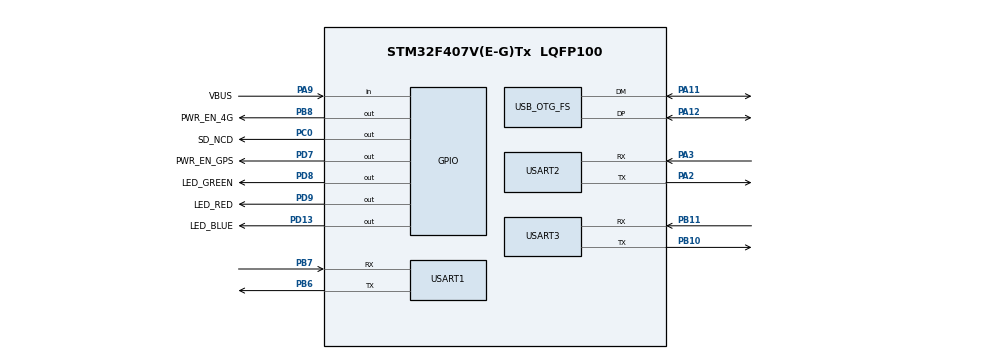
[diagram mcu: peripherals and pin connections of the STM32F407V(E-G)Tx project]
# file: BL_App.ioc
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Mcu.Family=STM32F4
Mcu.Name=STM32F407V(E-G)Tx
Mcu.Package=LQFP100
NVIC.OTG_FS_IRQn=true\:0\:0\:false\:false\:true\:false\:true
NVIC.PriorityGroup=NVIC_PRIORITYGROUP_4
NVIC.USART1_IRQn=true\:0\:0\:false\:false\:true\:true\:true
NVIC.USART2_IRQn=true\:0\:0\:false\:false\:true\:true\:true
NVIC.USART3_IRQn=true\:0\:0\:false\:false\:true\:true\:true
PA11.Mode=Device_Only
PA11.Signal=USB_OTG_FS_DM
PA12.Mode=Device_Only
PA12.Signal=USB_OTG_FS_DP
PA13.Mode=Serial_Wire
PA13.Signal=SYS_JTMS-SWDIO
PA14.Mode=Serial_Wire
PA14.Signal=SYS_JTCK-SWCLK
PA2.Mode=Asynchronous
PA2.Signal=USART2_TX
PA3.Mode=Asynchronous
PA3.Signal=USART2_RX
PA9.GPIO_Label=VBUS
PA9.GPIO_PuPd=GPIO_PULLDOWN
PA9.Signal=GPIO_Input
PB10.Mode=Asynchronous
PB10.Signal=USART3_TX
PB11.Mode=Asynchronous
PB11.Signal=USART3_RX
PB6.Mode=Asynchronous
PB6.Signal=USART1_TX
PB7.Mode=Asynchronous
PB7.Signal=USART1_RX
PB8.GPIO_Label=PWR_EN_4G
PB8.GPIO_PuPd=GPIO_PULLUP
PB8.GPIO_Speed=GPIO_SPEED_FREQ_HIGH
PB8.PinState=GPIO_PIN_SET
PB8.Signal=GPIO_Output
PC0.GPIO_Label=SD_NCD
PC0.GPIO_PuPd=GPIO_PULLUP
PC0.GPIO_Speed=GPIO_SPEED_FREQ_HIGH
PC0.PinState=GPIO_PIN_SET
PC0.Signal=GPIO_Output
PC10.Signal=SDIO_D2
PC11.Signal=SDIO_D3
PC12.Signal=SDIO_CK
PC8.Signal=SDIO_D0
PC9.Signal=SDIO_D1
PD13.GPIO_Label=LED_BLUE
PD13.GPIO_ModeDefaultOutputPP=GPIO_MODE_OUTPUT_PP
PD13.GPIO_PuPd=GPIO_PULLUP
PD13.GPIO_Speed=GPIO_SPEED_FREQ_HIGH
PD13.PinState=GPIO_PIN_SET
PD13.Signal=GPIO_Output
PD2.Signal=SDIO_CMD
PD7.GPIO_Label=PWR_EN_GPS
PD7.GPIO_PuPd=GPIO_PULLUP
PD7.GPIO_Speed=GPIO_SPEED_FREQ_HIGH
PD7.PinState=GPIO_PIN_SET
PD7.Signal=GPIO_Output
PD8.GPIO_Label=LED_GREEN
PD8.GPIO_ModeDefaultOutputPP=GPIO_MODE_OUTPUT_PP
PD8.GPIO_PuPd=GPIO_PULLUP
PD8.GPIO_Speed=GPIO_SPEED_FREQ_HIGH
PD8.PinState=GPIO_PIN_SET
PD8.Signal=GPIO_Output
PD9.GPIO_Label=LED_RED
PD9.GPIO_PuPd=GPIO_PULLUP
PD9.GPIO_Speed=GPIO_SPEED_FREQ_HIGH
PD9.PinState=GPIO_PIN_SET
PD9.Signal=GPIO_Output
PH0-OSC_IN.Mode=HSE-External-Oscillator
PH0-OSC_IN.Signal=RCC_OSC_IN
PH1-OSC_OUT.Mode=HSE-External-Oscillator
PH1-OSC_OUT.Signal=RCC_OSC_OUT
ProjectManager.HeapSize=0x2000
ProjectManager.StackSize=0x4000
ProjectManager.TargetToolchain=STM32CubeIDE
RCC.48MHZClocksFreq_Value=48000000
RCC.AHBFreq_Value=168000000
RCC.APB1CLKDivider=RCC_HCLK_DIV4
RCC.APB1Freq_Value=42000000
RCC.APB1TimFreq_Value=84000000
RCC.APB2CLKDivider=RCC_HCLK_DIV2
RCC.APB2Freq_Value=84000000
RCC.APB2TimFreq_Value=168000000
RCC.CortexFreq_Value=168000000
RCC.HCLKFreq_Value=168000000
RCC.HSE_VALUE=16000000
RCC.HSI_VALUE=16000000
RCC.LSE_VALUE=32768
RCC.PLLM=8
RCC.PLLN=168
RCC.PLLQ=7
RCC.SYSCLKFreq_VALUE=168000000
RCC.SYSCLKSource=RCC_SYSCLKSOURCE_PLLCLK
RCC.VCOOutputFreq_Value=336000000
USART1.VirtualMode=VM_ASYNC
USART2.VirtualMode=VM_ASYNC
USART3.VirtualMode=VM_ASYNC
USB_DEVICE.CLASS_NAME_FS=CDC
USB_DEVICE.VirtualMode-CDC_FS=Cdc
USB_DEVICE.VirtualModeFS=Cdc_FS
USB_OTG_FS.VirtualMode=Device_Only
VP_USB_DEVICE_VS_USB_DEVICE_CDC_FS.Mode=CDC_FS
board=custom

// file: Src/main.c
/* USER CODE BEGIN Header */
/**
  ******************************************************************************
  * @file           : main.c
  * @brief          : Main program body
  ******************************************************************************
  * @attention
  *
  * <h2><center>&copy; Copyright (c) 2020 STMicroelectronics.
  * All rights reserved.</center></h2>
  *
  * This software component is licensed by ST under Ultimate Liberty license
  * SLA0044, the "License"; You may not use this file except in compliance with
  * the License. You may obtain a copy of the License at:
  *                             www.st.com/SLA0044
  *
  ******************************************************************************
  */
/* USER CODE END Header */

#include "main.h"
#include "usart.h"
#include "usb_device.h"
#include "gpio.h"

/* USER CODE BEGIN Includes */
#include "Periphs/uart.h"
#include "version.h"
#include "driver/ec20.h"
#include "Periphs/ParamTable.h"
#include "tea/tea.h"
#include "Periphs/crc.h"
#include "Periphs/Flash.h"

/* USER CODE END Includes */

void SystemClock_Config(void);

/* USER CODE BEGIN 0 */
uint8_t vbus_high_count=0;
uint8_t vbus_low_count=0;
uint8_t vbus_connect=0;
uint32_t led_tick = 0;
//extern void bl_entry(void);
extern uint32_t g_pfnVectors;

void vbus_poll(const uint32_t _tick)
{
	uint32_t gpio = LL_GPIO_ReadInputPort(VBUS_GPIO_Port);
	if(gpio&VBUS_Pin)
	{
		vbus_high_count++;
		if(vbus_high_count>200) vbus_high_count = 200;
		vbus_low_count=0;
	}
	else
	{
		vbus_high_count=0;
		vbus_low_count++;
		if(vbus_low_count>200) vbus_low_count = 200;
	}
	if((led_tick>0) && (led_tick<=_tick))
	{
		led_tick = _tick + 100;
		LL_GPIO_TogglePin(GPIOD, LED_GREEN_Pin);
		//LL_GPIO_TogglePin(GPIOD, LED_RED_Pin);
	}
}

// 对芯片签名, 签名长度 32B
extern uint8_t read_uid(uint8_t uid[]);
//static uint8_t send_buf[256];
static const uint32_t signApp_key[4]={0x01020304, 0x05060708, 0x090A0B0C, 0x0D0E0F10};
void signApp(upload_Emb_Arg &Emb_Arg)
{
    int i;
    char _sn[64];
    uint32_t _key[4];
    const uint32_t* const _id = (const uint32_t*)mcu_id;
    QString_to_char(SN, _sn, sizeof(_sn));
    for(int i=0; i<8; i++) Emb_Arg.signApp[i] = _id[i];
    tea_encrypt(Emb_Arg.signApp, sizeof(Emb_Arg.signApp), signApp_key, 128);
    // 迭代加密,将加密加过代入新一轮加密,增加解密复杂度
    for(i=0; i<4; i++) _key[i] = Emb_Arg.signApp[i]+_id[i];
    for(i=0; i<8; i++) Emb_Arg.signApp[i] = Emb_Arg.signApp[i]^(_key[i>>1]);
    tea_encrypt(Emb_Arg.signApp, sizeof(Emb_Arg.signApp), _key, 128);

    app.debug("[%s-%d] Emb_Arg.signApp: \r\n", __func__, __LINE__);
    for(i=0; i<8; i++) app.debug("0x%08X ", Emb_Arg.signApp[i]);
    app.debug("[%s-%d] ------- End ------- \r\n", __func__, __LINE__);
}
uint32_t sign_flag = 0;
static inline uint32_t sign_chip(uint32_t sign[8])
{
	// 对齐
	uint32_t uid[8];
	uint16_t count, i;
	uint32_t crc16 = 0;
	uint32_t crc;
	//uint32_t addr = (uint32_t)&bl_entry;
	uint32_t addr = (uint32_t)0x080035a4;
	const uint32_t* flash = (const uint32_t*)0x08000400;
	const uint32_t key[4]={0x89480304, 0x60670708, 0x090A0B0C, 0x68270F10};
	const uint16_t emb_iteration = 64;

	addr = addr-(addr&0x03);  // 对齐
	flash = (const uint32_t*)(addr+((flash[0]&0x7F)<<2));
	//memset(uid, 0x5A, sizeof(uid));   // 填默认值
	memcpy(uid, flash, sizeof(uid));  // 将代码作为随机数使用
	// 读取 ID
	read_uid((uint8_t*)uid);  // 96 bit
	// 使用 TEA 加密, 迭代处理,将对称加密变成不可解密加密算法
	for(count=0; count< 16; count++)
	{
		memcpy(&sign[0], key, sizeof(key));
		memcpy(&sign[4], key, sizeof(key));
		tea_encrypt(sign, 4*8, uid, emb_iteration);
		// 叠加,将 sign 和 key 带入 uid,从而让数据不可解密
		for(i=0; i<8; i++) uid[i] = uid[i] + ((uid[i]>>i)&0xFFFF) + ((sign[i]<<i)&0xFFFF0000);
		tea_encrypt(uid, sizeof(uid), key, emb_iteration);
		sign_flag++;
	}
	// 计算 CRC
	crc16 = 0;
#ifdef FAST_CRC16
	crc16 = fast_crc16(crc16, (const unsigned char*)(0x08000000+0x0400), 1024*32); // 32K 代码校验
#else
	crc16 = fw_crc(crc16, (const unsigned char*)(0x08000000+0x0400), 1024*32); // 32K 代码校验
#endif
	crc = crc16;
	memcpy(&sign[0], uid, sizeof(uid));
	MX_USART3_UART_Init();
	/*app_debug("[%s--%d] crc:0x%08X sign_flag:%d \r\n", __func__, __LINE__, crc, sign_flag);
	app_debug("[%s--%d] sign: \r\n", __func__, __LINE__);
	for(i=0; i<8; i++) app_debug("0x%08X \r\n", sign[i]);
	app_debug("\r\n");*/
	return crc;
}
// 验签代码
void verify_chip(void)
{
	uint32_t sign[8];
	uint32_t crc;
	int led;
	const struct Emb_Device_Version*const _Emb_version = (const struct Emb_Device_Version*)0x08000200;
	// 签名
	crc = sign_chip(sign);
	//app_debug("[%s--%d] uid: \r\n", __func__, __LINE__);
	app_debug("[%s--%d] sign_flag:%d \r\n", __func__, __LINE__, sign_flag);
	app_debug("[%s--%d] crc:0x%08X 0x%08X \r\n", __func__, __LINE__, _Emb_version->crc, crc);
	for(int i=0; i<8; i++) app_debug("[%s--%d] signData[%d]:0x%08X 0x%08X \r\n", __func__, __LINE__, i, _Emb_version->signData[i], sign[i]);
	if((16==sign_flag) && (_Emb_version->crc==crc) && (0==memcmp(sign, _Emb_version->signData, sizeof(_Emb_version->signData))))
	{
		app_debug("[%s--%d] verify_chip pass! \r\n", __func__, __LINE__);
		//bl_entry();
		return ;
	}
	//app_debug("[%s--%d] uid: \r\n", __func__, __LINE__);
	// 加密验证错误, 错误提示:3s快闪,3s慢闪
	led_tick = 0;
	MX_GPIO_Init();
	while(1)  // nop
	{
		// 使用";"会出现 warning: this 'for' clause does not guard... [-Wmisleading-indentation]
		//asm("mov r0,r0");
		// 刷入固件前有 3s 快闪提示
		for(led=0; led<60; led++) // 3s
		{
			HAL_Delay(50);
			LL_GPIO_TogglePin(GPIOD, LED_GREEN_Pin);
		}
		for(led=0; led<6; led++)  // 3s
		{
			HAL_Delay(500);
			LL_GPIO_TogglePin(GPIOD, LED_GREEN_Pin);
		}
	}
}

/* USER CODE END 0 */

int main(void)
{
  /* USER CODE BEGIN 1 */

	//int conut=0;
	//SCB->VTOR = g_pfnVectors;//FLASH_BASE | VECT_TAB_OFFSET; /* Vector Table Relocation in Internal FLASH */
	SCB->VTOR = 0x08010000UL ;
	//SCB->VTOR = 0x20000000UL; /* Vector Table Relocation in Internal FLASH */
	led_tick = 0;
  /* USER CODE END 1 */

  /* MCU Configuration--------------------------------------------------------*/

  /* Reset of all peripherals, Initializes the Flash interface and the Systick. */
  HAL_Init();

  /* Configure the system clock */
  SystemClock_Config();

  /* USER CODE BEGIN SysInit */

  HAL_Delay(500);
  /* USER CODE END SysInit */

  /* Initialize all configured peripherals */
  MX_GPIO_Init();
  MX_USB_DEVICE_Init();
  MX_USART1_UART_Init();
  MX_USART2_UART_Init();
  MX_USART3_UART_Init();
  /* USER CODE BEGIN 2 */
	USART1_Init(115200);
	USART2_Init(115200);
	USART3_Init(115200);
	led_tick = HAL_GetTick() + 200;
	app_debug("[%s--%d] Ver[%d | 0x%08X]:%s\r\n", __func__, __LINE__, sizeof(Emb_Version), &Emb_Version, Emb_Version.version);
#if 0
	app_debug("[%s--%d] HAL_OK       = 0x00U, \r\n", __func__, __LINE__);
	app_debug("[%s--%d] HAL_ERROR    = 0x01U, \r\n", __func__, __LINE__);
	app_debug("[%s--%d] HAL_BUSY     = 0x02U, \r\n", __func__, __LINE__);
	app_debug("[%s--%d] HAL_TIMEOUT  = 0x03U, \r\n", __func__, __LINE__);
	app_debug("[%s--%d] FLASH_Erase[0x%08X-0x%08X]:%d\r\n", __func__, __LINE__, 0x08000000, 0x08000FFF, FLASH_Erase(0x08000000, 0x08000FFF));
#endif
	verify_chip();
	//EC20_Test();
  /* USER CODE END 2 */

  /* Infinite loop */
  /* USER CODE BEGIN WHILE */
  while (1)
  {
	  //app_debug("[%s--%d] conut:%d\r\n", __func__, __LINE__, conut++);
	  HAL_Delay(500);
    /* USER CODE END WHILE */

  }
}

void SystemClock_Config(void)
{
  LL_FLASH_SetLatency(LL_FLASH_LATENCY_5);

  if(LL_FLASH_GetLatency() != LL_FLASH_LATENCY_5)
  {
  Error_Handler();
  }
  LL_PWR_SetRegulVoltageScaling(LL_PWR_REGU_VOLTAGE_SCALE1);
  LL_RCC_HSE_Enable();

   /* Wait till HSE is ready */
  while(LL_RCC_HSE_IsReady() != 1)
  {

  }
  LL_RCC_PLL_ConfigDomain_SYS(LL_RCC_PLLSOURCE_HSE, LL_RCC_PLLM_DIV_8, 168, LL_RCC_PLLP_DIV_2);
  LL_RCC_PLL_ConfigDomain_48M(LL_RCC_PLLSOURCE_HSE, LL_RCC_PLLM_DIV_8, 168, LL_RCC_PLLQ_DIV_7);
  LL_RCC_PLL_Enable();

   /* Wait till PLL is ready */
  while(LL_RCC_PLL_IsReady() != 1)
  {

  }
  LL_RCC_SetAHBPrescaler(LL_RCC_SYSCLK_DIV_1);
  LL_RCC_SetAPB1Prescaler(LL_RCC_APB1_DIV_4);
  LL_RCC_SetAPB2Prescaler(LL_RCC_APB2_DIV_2);
  LL_RCC_SetSysClkSource(LL_RCC_SYS_CLKSOURCE_PLL);

   /* Wait till System clock is ready */
  while(LL_RCC_GetSysClkSource() != LL_RCC_SYS_CLKSOURCE_STATUS_PLL)
  {

  }
  LL_SetSystemCoreClock(168000000);

   /* Update the time base */
  if (HAL_InitTick (TICK_INT_PRIORITY) != HAL_OK)
  {
    Error_Handler();
  };
}

void Error_Handler(void)
{
}

/************************ (C) COPYRIGHT STMicroelectronics *****END OF FILE****/
